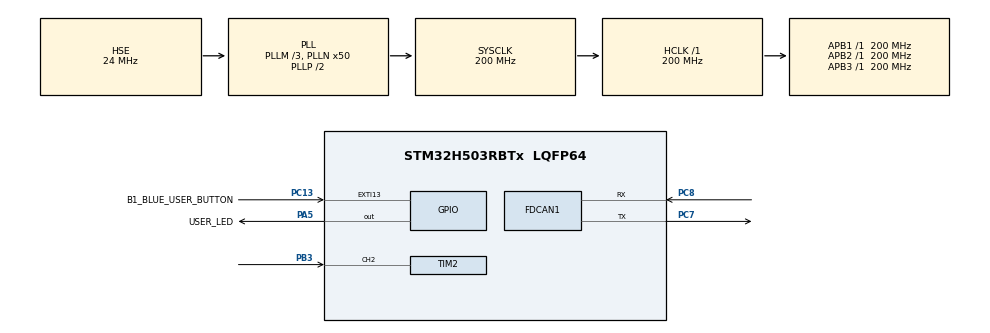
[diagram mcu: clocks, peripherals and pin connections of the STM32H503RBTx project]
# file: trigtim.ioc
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BOOTPATH.BootPathName=LEGACY
BOOTPATH.UserSelectedBootPath=LEGACY
FDCAN1.CalculateBaudRateNominal=500000
FDCAN1.CalculateTimeBitNominal=2000
FDCAN1.CalculateTimeQuantumNominal=125.0
FDCAN1.NominalPrescaler=25
FDCAN1.NominalTimeSeg1=13
FDCAN1.NominalTimeSeg2=2
Mcu.Family=STM32H5
Mcu.Name=STM32H503RBTx
Mcu.Package=LQFP64
NVIC.FDCAN1_IT0_IRQn=true\:0\:0\:false\:false\:true\:true\:true\:true
NVIC.PriorityGroup=NVIC_PRIORITYGROUP_4
NVIC.TIM2_IRQn=true\:0\:0\:false\:false\:true\:true\:true\:true
PA3.GPIO_Label=T_VCP_RX
PA3.Signal=USART3_RX
PA4.GPIO_Label=T_VCP_TX
PA4.Signal=USART3_TX
PA5.GPIO_Label=USER_LED
PA5.Signal=GPIO_Output
PB3(JTDO/TRACESWO).Signal=S_TIM2_CH2
PC13.GPIO_Label=B1_BLUE_USER_BUTTON
PC13.Signal=GPXTI13
PC7.Mode=FDCAN_Activate
PC7.Signal=FDCAN1_TX
PC8.Mode=FDCAN_Activate
PC8.Signal=FDCAN1_RX
PH0-OSC_IN(PH0).Mode=HSE-External-Oscillator
PH0-OSC_IN(PH0).Signal=RCC_OSC_IN
PH1-OSC_OUT(PH1).Mode=HSE-External-Oscillator
PH1-OSC_OUT(PH1).Signal=RCC_OSC_OUT
ProjectManager.HeapSize=0x200
ProjectManager.StackSize=0x400
ProjectManager.TargetToolchain=STM32CubeIDE
RCC.ADCFreq_Value=200000000
RCC.AHBFreq_Value=200000000
RCC.APB1Freq_Value=200000000
RCC.APB1TimFreq_Value=200000000
RCC.APB2Freq_Value=200000000
RCC.APB2TimFreq_Value=200000000
RCC.APB3Freq_Value=200000000
RCC.CSI_VALUE=4000000
RCC.CortexFreq_Value=200000000
RCC.EPOD_VALUE=24000000
RCC.FDCANClockSelection=RCC_FDCANCLKSOURCE_PLL1Q
RCC.HCLKFreq_Value=200000000
RCC.HSE_VALUE=24000000
RCC.HSI48_VALUE=48000000
RCC.HSIDiv=RCC_HSI_DIV1
RCC.HSI_VALUE=64000000
RCC.LSE_VALUE=32768
RCC.LSIRC_VALUE=32000
RCC.PLLFRACN=0
RCC.PLLM=3
RCC.PLLN=50
RCC.PLLSourceVirtual=RCC_PLL1_SOURCE_HSE
RCC.SYSCLKFreq_VALUE=200000000
RCC.SYSCLKSource=RCC_SYSCLKSOURCE_PLLCLK
RCC.USBFreq_Value=48000000
RCC.VCOOutputFreq_Value=400000000
SH.S_TIM2_CH2.0=TIM2_CH2,TriggerSource_TI2FP2
TIM2.PeriodNoDither=39
TIM2.Prescaler=199
TIM2.Slave_TriggerPolarity=TIM_TRIGGERPOLARITY_FALLING
VP_BOOTPATH_VS_BOOTPATH.Mode=BP_Activate
VP_CORTEX_M33_NS_VS_Hclk.Mode=Hclk_Mode
VP_MEMORYMAP_VS_MEMORYMAP.Mode=CurAppReg
VP_PWR_VS_DBSignals.Mode=DisableDeadBatterySignals
VP_PWR_VS_LPOM.Mode=PowerOptimisation
VP_PWR_VS_SECSignals.Mode=Security/Privilege
VP_TIM2_VS_ControllerModeTrigger.Mode=Trigger Mode
board=NUCLEO-H503RB

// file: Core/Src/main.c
/* USER CODE BEGIN Header */
/**
  ******************************************************************************
  * @file           : main.c
  * @brief          : Main program body
  ******************************************************************************
  * @attention
  *
  * Copyright (c) 2025 STMicroelectronics.
  * All rights reserved.
  *
  * This software is licensed under terms that can be found in the LICENSE file
  * in the root directory of this software component.
  * If no LICENSE file comes with this software, it is provided AS-IS.
  *
  ******************************************************************************
  */
/* USER CODE END Header */
#include "main.h"

FDCAN_HandleTypeDef hfdcan1;

TIM_HandleTypeDef htim2;

void SystemClock_Config(void);
static void MX_GPIO_Init(void);
static void MX_FDCAN1_Init(void);
static void MX_TIM2_Init(void);
void TX_Send_CAN();

/* USER CODE BEGIN 0 */
typedef struct{
	FDCAN_TxHeaderTypeDef   TxHeader;
	FDCAN_RxHeaderTypeDef   RxHeader;
	uint32_t msgID;
	uint8_t dataTx[2];
	uint8_t dataRx[2];
} CAN_SET;

CAN_SET CAN_Payload;

volatile uint8_t can_send_flag = 0;
/* USER CODE END 0 */

int main(void)
{

  /* MCU Configuration--------------------------------------------------------*/

  /* Reset of all peripherals, Initializes the Flash interface and the Systick. */
  HAL_Init();

  /* Configure the system clock */
  SystemClock_Config();

  /* Initialize all configured peripherals */
  MX_GPIO_Init();
  MX_FDCAN1_Init();
  MX_TIM2_Init();
  /* USER CODE BEGIN 2 */
  __HAL_TIM_CLEAR_FLAG(&htim2, TIM_FLAG_UPDATE);
  HAL_TIM_Base_Start_IT(&htim2);
  /* USER CODE END 2 */

  /* Infinite loop */
  while (1)
  {
	  if (can_send_flag == 1 ){
		  TX_Send_CAN();
		  can_send_flag = 0;
	  }

  }
}

void SystemClock_Config(void)
{
  RCC_OscInitTypeDef RCC_OscInitStruct = {0};
  RCC_ClkInitTypeDef RCC_ClkInitStruct = {0};

  /** Configure the main internal regulator output voltage
  */
  __HAL_PWR_VOLTAGESCALING_CONFIG(PWR_REGULATOR_VOLTAGE_SCALE1);

  while(!__HAL_PWR_GET_FLAG(PWR_FLAG_VOSRDY)) {}

  /** Initializes the RCC Oscillators according to the specified parameters
  * in the RCC_OscInitTypeDef structure.
  */
  RCC_OscInitStruct.OscillatorType = RCC_OSCILLATORTYPE_HSE;
  RCC_OscInitStruct.HSEState = RCC_HSE_ON;
  RCC_OscInitStruct.PLL.PLLState = RCC_PLL_ON;
  RCC_OscInitStruct.PLL.PLLSource = RCC_PLL1_SOURCE_HSE;
  RCC_OscInitStruct.PLL.PLLM = 3;
  RCC_OscInitStruct.PLL.PLLN = 50;
  RCC_OscInitStruct.PLL.PLLP = 2;
  RCC_OscInitStruct.PLL.PLLQ = 2;
  RCC_OscInitStruct.PLL.PLLR = 2;
  RCC_OscInitStruct.PLL.PLLRGE = RCC_PLL1_VCIRANGE_3;
  RCC_OscInitStruct.PLL.PLLVCOSEL = RCC_PLL1_VCORANGE_WIDE;
  RCC_OscInitStruct.PLL.PLLFRACN = 0;
  if (HAL_RCC_OscConfig(&RCC_OscInitStruct) != HAL_OK)
  {
    Error_Handler();
  }

  /** Initializes the CPU, AHB and APB buses clocks
  */
  RCC_ClkInitStruct.ClockType = RCC_CLOCKTYPE_HCLK|RCC_CLOCKTYPE_SYSCLK
                              |RCC_CLOCKTYPE_PCLK1|RCC_CLOCKTYPE_PCLK2
                              |RCC_CLOCKTYPE_PCLK3;
  RCC_ClkInitStruct.SYSCLKSource = RCC_SYSCLKSOURCE_PLLCLK;
  RCC_ClkInitStruct.AHBCLKDivider = RCC_SYSCLK_DIV1;
  RCC_ClkInitStruct.APB1CLKDivider = RCC_HCLK_DIV1;
  RCC_ClkInitStruct.APB2CLKDivider = RCC_HCLK_DIV1;
  RCC_ClkInitStruct.APB3CLKDivider = RCC_HCLK_DIV1;

  if (HAL_RCC_ClockConfig(&RCC_ClkInitStruct, FLASH_LATENCY_5) != HAL_OK)
  {
    Error_Handler();
  }

  /** Configure the programming delay
  */
  __HAL_FLASH_SET_PROGRAM_DELAY(FLASH_PROGRAMMING_DELAY_2);
}

static void MX_FDCAN1_Init(void)
{

  hfdcan1.Instance = FDCAN1;
  hfdcan1.Init.ClockDivider = FDCAN_CLOCK_DIV1;
  hfdcan1.Init.FrameFormat = FDCAN_FRAME_CLASSIC;
  hfdcan1.Init.Mode = FDCAN_MODE_NORMAL;
  hfdcan1.Init.AutoRetransmission = DISABLE;
  hfdcan1.Init.TransmitPause = DISABLE;
  hfdcan1.Init.ProtocolException = DISABLE;
  hfdcan1.Init.NominalPrescaler = 25;
  hfdcan1.Init.NominalSyncJumpWidth = 1;
  hfdcan1.Init.NominalTimeSeg1 = 13;
  hfdcan1.Init.NominalTimeSeg2 = 2;
  hfdcan1.Init.DataPrescaler = 1;
  hfdcan1.Init.DataSyncJumpWidth = 1;
  hfdcan1.Init.DataTimeSeg1 = 1;
  hfdcan1.Init.DataTimeSeg2 = 1;
  hfdcan1.Init.StdFiltersNbr = 0;
  hfdcan1.Init.ExtFiltersNbr = 0;
  hfdcan1.Init.TxFifoQueueMode = FDCAN_TX_FIFO_OPERATION;
  if (HAL_FDCAN_Init(&hfdcan1) != HAL_OK)
  {
    Error_Handler();
  }
  /* USER CODE BEGIN FDCAN1_Init 2 */
  if (HAL_FDCAN_Start(&hfdcan1) != HAL_OK) {
    	 /* Notification Error */
    	Error_Handler();
    }
    if (HAL_FDCAN_ActivateNotification(&hfdcan1, FDCAN_IT_RX_FIFO0_NEW_MESSAGE, 0) != HAL_OK)
    {
  	/* Notification Error */
  	Error_Handler();
    }
  /* USER CODE END FDCAN1_Init 2 */

}

static void MX_TIM2_Init(void)
{

  TIM_SlaveConfigTypeDef sSlaveConfig = {0};
  TIM_MasterConfigTypeDef sMasterConfig = {0};

  htim2.Instance = TIM2;
  htim2.Init.Prescaler = 199;
  htim2.Init.CounterMode = TIM_COUNTERMODE_UP;
  htim2.Init.Period = 39;
  htim2.Init.ClockDivision = TIM_CLOCKDIVISION_DIV1;
  htim2.Init.AutoReloadPreload = TIM_AUTORELOAD_PRELOAD_DISABLE;
  if (HAL_TIM_Base_Init(&htim2) != HAL_OK)
  {
    Error_Handler();
  }
  sSlaveConfig.SlaveMode = TIM_SLAVEMODE_TRIGGER;
  sSlaveConfig.InputTrigger = TIM_TS_TI2FP2;
  sSlaveConfig.TriggerPolarity = TIM_TRIGGERPOLARITY_FALLING;
  sSlaveConfig.TriggerFilter = 0;
  if (HAL_TIM_SlaveConfigSynchro(&htim2, &sSlaveConfig) != HAL_OK)
  {
    Error_Handler();
  }
  sMasterConfig.MasterOutputTrigger = TIM_TRGO_RESET;
  sMasterConfig.MasterSlaveMode = TIM_MASTERSLAVEMODE_DISABLE;
  if (HAL_TIMEx_MasterConfigSynchronization(&htim2, &sMasterConfig) != HAL_OK)
  {
    Error_Handler();
  }

}

static void MX_GPIO_Init(void)
{
  GPIO_InitTypeDef GPIO_InitStruct = {0};

  /* GPIO Ports Clock Enable */
  __HAL_RCC_GPIOC_CLK_ENABLE();
  __HAL_RCC_GPIOH_CLK_ENABLE();
  __HAL_RCC_GPIOA_CLK_ENABLE();
  __HAL_RCC_GPIOB_CLK_ENABLE();

  /*Configure GPIO pin Output Level */
  HAL_GPIO_WritePin(USER_LED_GPIO_Port, USER_LED_Pin, GPIO_PIN_RESET);

  /*Configure GPIO pin : B1_BLUE_USER_BUTTON_Pin */
  GPIO_InitStruct.Pin = B1_BLUE_USER_BUTTON_Pin;
  GPIO_InitStruct.Mode = GPIO_MODE_IT_RISING;
  GPIO_InitStruct.Pull = GPIO_NOPULL;
  HAL_GPIO_Init(B1_BLUE_USER_BUTTON_GPIO_Port, &GPIO_InitStruct);

  /*Configure GPIO pins : T_VCP_RX_Pin T_VCP_TX_Pin */
  GPIO_InitStruct.Pin = T_VCP_RX_Pin|T_VCP_TX_Pin;
  GPIO_InitStruct.Mode = GPIO_MODE_AF_PP;
  GPIO_InitStruct.Pull = GPIO_NOPULL;
  GPIO_InitStruct.Speed = GPIO_SPEED_FREQ_LOW;
  GPIO_InitStruct.Alternate = GPIO_AF13_USART3;
  HAL_GPIO_Init(GPIOA, &GPIO_InitStruct);

  /*Configure GPIO pin : USER_LED_Pin */
  GPIO_InitStruct.Pin = USER_LED_Pin;
  GPIO_InitStruct.Mode = GPIO_MODE_OUTPUT_PP;
  GPIO_InitStruct.Pull = GPIO_NOPULL;
  GPIO_InitStruct.Speed = GPIO_SPEED_FREQ_LOW;
  HAL_GPIO_Init(USER_LED_GPIO_Port, &GPIO_InitStruct);

}

/* USER CODE BEGIN 4 */
void TX_Send_CAN(){

    /* ----- Prepare CAN data --------------------------------------- */
    CAN_Payload.TxHeader.Identifier = 0x7FF; //CAN_Payload.msgID
    CAN_Payload.TxHeader.TxFrameType = FDCAN_DATA_FRAME;
    CAN_Payload.TxHeader.DataLength = FDCAN_DLC_BYTES_1;        // 8-byte payloaD
    CAN_Payload.TxHeader.ErrorStateIndicator = FDCAN_ESI_ACTIVE;
    CAN_Payload.TxHeader.BitRateSwitch = FDCAN_BRS_OFF;         // Disable BRS
    CAN_Payload.TxHeader.FDFormat = FDCAN_CLASSIC_CAN;          // Use Classical CAN frame
    CAN_Payload.TxHeader.TxEventFifoControl = FDCAN_NO_TX_EVENTS;
    CAN_Payload.TxHeader.MessageMarker = 0;

    CAN_Payload.dataTx[0] ^= 1;

    if (HAL_FDCAN_AddMessageToTxFifoQ(&hfdcan1, &CAN_Payload.TxHeader,CAN_Payload.dataTx)!= HAL_OK)
    {
    	//Error_Handler();
    }
}

void HAL_TIM_PeriodElapsedCallback(TIM_HandleTypeDef *htim)
{
    if (htim->Instance == TIM2)
    {
    	__HAL_TIM_DISABLE(htim);
    	//TX_Send_CAN();
    	can_send_flag = 1;
     }
}

/* USER CODE END 4 */

void Error_Handler(void)
{
  __disable_irq();
  while (1)
  {
  }
}
